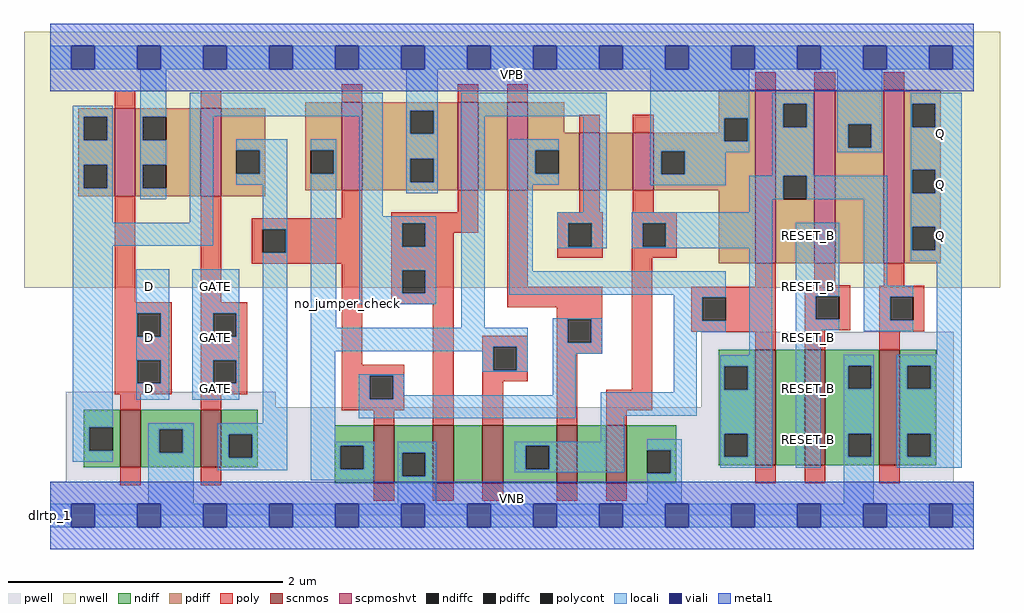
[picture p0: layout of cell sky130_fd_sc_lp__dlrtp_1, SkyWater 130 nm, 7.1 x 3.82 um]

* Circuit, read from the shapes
.subckt sky130_fd_sc_lp__dlrtp_1 D GATE RESET_B VGND VNB VPB VPWR Q
XM1 VGND D n1 VNB sky130_fd_pr__nfet_01v8 w=0.42 l=0.15
XM2 n2 GATE VGND VNB sky130_fd_pr__nfet_01v8 w=0.42 l=0.15
XM3 VGND n2 n3 VNB sky130_fd_pr__nfet_01v8 w=0.42 l=0.15
XM4 n4 n1 VGND VNB sky130_fd_pr__nfet_01v8 w=0.42 l=0.15
XM5 n5 n3 n4 VNB sky130_fd_pr__nfet_01v8 w=0.42 l=0.15
XM6 n6 n2 n5 VNB sky130_fd_pr__nfet_01v8 w=0.42 l=0.15
XM7 VGND n7 n6 VNB sky130_fd_pr__nfet_01v8 w=0.42 l=0.15
XM8 n8 n5 n7 VNB sky130_fd_pr__nfet_01v8 w=0.84 l=0.15
XM9 VGND RESET_B n8 VNB sky130_fd_pr__nfet_01v8 w=0.84 l=0.15
XM10 Q n7 VGND VNB sky130_fd_pr__nfet_01v8 w=0.84 l=0.15
XM11 VPWR D n1 VPB sky130_fd_pr__pfet_01v8_hvt w=0.64 l=0.15
XM12 n2 GATE VPWR VPB sky130_fd_pr__pfet_01v8_hvt w=0.64 l=0.15
XM13 VPWR n2 n3 VPB sky130_fd_pr__pfet_01v8_hvt w=0.64 l=0.15
XM14 n9 n1 VPWR VPB sky130_fd_pr__pfet_01v8_hvt w=0.64 l=0.15
XM15 n5 n2 n9 VPB sky130_fd_pr__pfet_01v8_hvt w=0.64 l=0.15
XM16 n10 n3 n5 VPB sky130_fd_pr__pfet_01v8_hvt w=0.42 l=0.15
XM17 VPWR n7 n10 VPB sky130_fd_pr__pfet_01v8_hvt w=0.42 l=0.15
XM18 n7 n5 VPWR VPB sky130_fd_pr__pfet_01v8_hvt w=1.26 l=0.15
XM19 VPWR RESET_B n7 VPB sky130_fd_pr__pfet_01v8_hvt w=1.26 l=0.15
XM20 Q n7 VPWR VPB sky130_fd_pr__pfet_01v8_hvt w=1.26 l=0.15
.ends

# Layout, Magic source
magic
tech sky130A
magscale 1 2
<< nwell >>
rect -38 331 1382 704
<< pwell >>
rect 23 157 328 180
rect 947 157 1315 267
rect 23 49 1315 157
rect 0 0 1344 49
<< scnmos >>
rect 102 70 132 154
rect 219 70 249 154
rect 471 47 501 131
rect 557 47 587 131
rect 629 47 659 131
rect 737 47 767 131
rect 809 47 839 131
rect 1026 73 1056 241
rect 1098 73 1128 241
rect 1206 73 1236 241
<< scpmoshvt >>
rect 94 464 124 592
rect 219 464 249 592
rect 424 473 454 601
rect 593 473 623 601
rect 665 473 695 601
rect 770 473 800 557
rect 848 473 878 557
rect 1026 367 1056 619
rect 1112 367 1142 619
rect 1213 367 1243 619
<< ndiff >>
rect 49 128 102 154
rect 49 94 57 128
rect 91 94 102 128
rect 49 70 102 94
rect 132 125 219 154
rect 132 91 159 125
rect 193 91 219 125
rect 132 70 219 91
rect 249 118 302 154
rect 973 217 1026 241
rect 973 183 981 217
rect 1015 183 1026 217
rect 249 84 260 118
rect 294 84 302 118
rect 249 70 302 84
rect 414 101 471 131
rect 414 67 422 101
rect 456 67 471 101
rect 414 47 471 67
rect 501 91 557 131
rect 501 57 512 91
rect 546 57 557 91
rect 501 47 557 57
rect 587 47 629 131
rect 659 101 737 131
rect 659 67 692 101
rect 726 67 737 101
rect 659 47 737 67
rect 767 47 809 131
rect 839 95 911 131
rect 839 61 869 95
rect 903 61 911 95
rect 973 119 1026 183
rect 973 85 981 119
rect 1015 85 1026 119
rect 973 73 1026 85
rect 1056 73 1098 241
rect 1128 218 1206 241
rect 1128 184 1161 218
rect 1195 184 1206 218
rect 1128 119 1206 184
rect 1128 85 1161 119
rect 1195 85 1206 119
rect 1128 73 1206 85
rect 1236 218 1289 241
rect 1236 184 1247 218
rect 1281 184 1289 218
rect 1236 119 1289 184
rect 1236 85 1247 119
rect 1281 85 1289 119
rect 1236 73 1289 85
rect 839 47 911 61
<< pdiff >>
rect 41 580 94 592
rect 41 546 49 580
rect 83 546 94 580
rect 41 510 94 546
rect 41 476 49 510
rect 83 476 94 510
rect 41 464 94 476
rect 124 580 219 592
rect 124 546 135 580
rect 169 546 219 580
rect 124 510 219 546
rect 124 476 135 510
rect 169 476 219 510
rect 124 464 219 476
rect 249 531 313 592
rect 249 497 271 531
rect 305 497 313 531
rect 249 464 313 497
rect 371 531 424 601
rect 371 497 379 531
rect 413 497 424 531
rect 371 473 424 497
rect 454 589 593 601
rect 454 555 524 589
rect 558 555 593 589
rect 454 519 593 555
rect 454 485 524 519
rect 558 485 593 519
rect 454 473 593 485
rect 623 473 665 601
rect 695 557 748 601
rect 973 578 1026 619
rect 973 557 981 578
rect 695 531 770 557
rect 695 497 706 531
rect 740 497 770 531
rect 695 473 770 497
rect 800 473 848 557
rect 878 544 981 557
rect 1015 544 1026 578
rect 878 530 1026 544
rect 878 496 889 530
rect 923 496 1026 530
rect 878 473 1026 496
rect 973 367 1026 473
rect 1056 599 1112 619
rect 1056 565 1067 599
rect 1101 565 1112 599
rect 1056 494 1112 565
rect 1056 460 1067 494
rect 1101 460 1112 494
rect 1056 367 1112 460
rect 1142 569 1213 619
rect 1142 535 1161 569
rect 1195 535 1213 569
rect 1142 367 1213 535
rect 1243 599 1296 619
rect 1243 565 1254 599
rect 1288 565 1296 599
rect 1243 503 1296 565
rect 1243 469 1254 503
rect 1288 469 1296 503
rect 1243 420 1296 469
rect 1243 386 1254 420
rect 1288 386 1296 420
rect 1243 367 1296 386
<< ndiffc >>
rect 57 94 91 128
rect 159 91 193 125
rect 981 183 1015 217
rect 260 84 294 118
rect 422 67 456 101
rect 512 57 546 91
rect 692 67 726 101
rect 869 61 903 95
rect 981 85 1015 119
rect 1161 184 1195 218
rect 1161 85 1195 119
rect 1247 184 1281 218
rect 1247 85 1281 119
<< pdiffc >>
rect 49 546 83 580
rect 49 476 83 510
rect 135 546 169 580
rect 135 476 169 510
rect 271 497 305 531
rect 379 497 413 531
rect 524 555 558 589
rect 524 485 558 519
rect 706 497 740 531
rect 981 544 1015 578
rect 889 496 923 530
rect 1067 565 1101 599
rect 1067 460 1101 494
rect 1161 535 1195 569
rect 1254 565 1288 599
rect 1254 469 1288 503
rect 1254 386 1288 420
<< poly >>
rect 94 592 124 618
rect 219 592 249 618
rect 424 601 454 627
rect 593 601 623 627
rect 665 601 695 627
rect 1026 619 1056 645
rect 1112 619 1142 645
rect 1213 619 1243 645
rect 770 557 800 583
rect 848 557 878 583
rect 94 310 124 464
rect 219 310 249 464
rect 424 432 454 473
rect 593 441 623 473
rect 293 416 454 432
rect 293 382 309 416
rect 343 382 454 416
rect 293 366 454 382
rect 94 294 177 310
rect 94 260 127 294
rect 161 260 177 294
rect 94 226 177 260
rect 94 192 127 226
rect 161 192 177 226
rect 94 176 177 192
rect 219 294 287 310
rect 219 260 237 294
rect 271 260 287 294
rect 219 226 287 260
rect 219 192 237 226
rect 271 192 287 226
rect 219 176 287 192
rect 424 219 454 366
rect 496 425 623 441
rect 496 391 512 425
rect 546 411 623 425
rect 546 391 587 411
rect 496 357 587 391
rect 496 323 512 357
rect 546 323 587 357
rect 496 307 587 323
rect 424 203 515 219
rect 102 154 132 176
rect 219 154 249 176
rect 424 169 465 203
rect 499 169 515 203
rect 424 153 515 169
rect 471 131 501 153
rect 557 131 587 307
rect 665 333 695 473
rect 770 441 800 473
rect 848 441 878 473
rect 738 425 804 441
rect 738 391 754 425
rect 788 391 804 425
rect 738 375 804 391
rect 846 425 912 441
rect 846 391 862 425
rect 896 391 912 425
rect 846 375 912 391
rect 665 303 803 333
rect 737 285 803 303
rect 629 245 695 261
rect 629 211 645 245
rect 679 211 695 245
rect 629 195 695 211
rect 737 251 753 285
rect 787 251 803 285
rect 737 235 803 251
rect 629 131 659 195
rect 737 131 767 235
rect 846 183 876 375
rect 1026 333 1056 367
rect 1112 335 1142 367
rect 933 317 1056 333
rect 933 283 949 317
rect 983 283 1056 317
rect 933 267 1056 283
rect 1026 241 1056 267
rect 1098 319 1164 335
rect 1213 334 1243 367
rect 1098 285 1114 319
rect 1148 285 1164 319
rect 1098 269 1164 285
rect 1206 318 1272 334
rect 1206 284 1222 318
rect 1256 284 1272 318
rect 1098 241 1128 269
rect 1206 268 1272 284
rect 1206 241 1236 268
rect 809 153 876 183
rect 809 131 839 153
rect 102 44 132 70
rect 219 44 249 70
rect 1026 47 1056 73
rect 1098 47 1128 73
rect 1206 47 1236 73
rect 471 21 501 47
rect 557 21 587 47
rect 629 21 659 47
rect 737 21 767 47
rect 809 21 839 47
<< polycont >>
rect 309 382 343 416
rect 127 260 161 294
rect 127 192 161 226
rect 237 260 271 294
rect 237 192 271 226
rect 512 391 546 425
rect 512 323 546 357
rect 465 169 499 203
rect 754 391 788 425
rect 862 391 896 425
rect 645 211 679 245
rect 753 251 787 285
rect 949 283 983 317
rect 1114 285 1148 319
rect 1222 284 1256 318
<< locali >>
rect 0 649 31 683
rect 65 649 127 683
rect 161 649 223 683
rect 257 649 319 683
rect 353 649 415 683
rect 449 649 511 683
rect 545 649 607 683
rect 641 649 703 683
rect 737 649 799 683
rect 833 649 895 683
rect 929 649 991 683
rect 1025 649 1087 683
rect 1121 649 1183 683
rect 1217 649 1279 683
rect 1313 649 1344 683
rect 33 580 91 596
rect 33 546 49 580
rect 83 546 91 580
rect 33 510 91 546
rect 33 476 49 510
rect 83 476 91 510
rect 33 426 91 476
rect 131 580 169 649
rect 131 546 135 580
rect 131 510 169 546
rect 131 476 135 510
rect 131 460 169 476
rect 203 581 484 615
rect 203 426 237 581
rect 271 531 345 547
rect 305 497 345 531
rect 271 481 345 497
rect 33 392 237 426
rect 309 416 345 481
rect 33 128 91 392
rect 343 382 345 416
rect 125 294 173 358
rect 125 260 127 294
rect 161 260 173 294
rect 125 226 173 260
rect 125 192 127 226
rect 161 192 173 226
rect 125 168 173 192
rect 207 294 275 358
rect 207 260 237 294
rect 271 260 275 294
rect 207 226 275 260
rect 207 192 237 226
rect 271 192 275 226
rect 207 168 275 192
rect 309 134 345 382
rect 33 94 57 128
rect 33 78 91 94
rect 143 125 209 134
rect 143 91 159 125
rect 193 91 209 125
rect 143 17 209 91
rect 244 118 345 134
rect 244 84 260 118
rect 294 84 345 118
rect 244 66 345 84
rect 379 531 416 547
rect 413 497 416 531
rect 379 273 416 497
rect 450 435 484 581
rect 518 589 564 649
rect 518 555 524 589
rect 558 555 564 589
rect 518 519 564 555
rect 518 485 524 519
rect 558 485 564 519
rect 518 469 564 485
rect 598 581 810 615
rect 450 425 562 435
rect 450 391 512 425
rect 546 391 562 425
rect 450 357 562 391
rect 450 323 512 357
rect 546 323 562 357
rect 450 307 562 323
rect 598 273 632 581
rect 668 531 740 547
rect 668 497 706 531
rect 668 481 740 497
rect 668 355 702 481
rect 776 441 810 581
rect 873 578 1017 649
rect 873 544 981 578
rect 1015 544 1017 578
rect 873 530 1017 544
rect 873 496 889 530
rect 923 528 1017 530
rect 1051 599 1111 615
rect 1051 565 1067 599
rect 1101 565 1111 599
rect 923 496 983 528
rect 873 480 983 496
rect 1051 494 1111 565
rect 1145 569 1211 649
rect 1145 535 1161 569
rect 1195 535 1211 569
rect 1145 528 1211 535
rect 1252 599 1326 615
rect 1252 565 1254 599
rect 1288 565 1326 599
rect 1252 503 1326 565
rect 1017 460 1067 494
rect 1101 460 1218 494
rect 1017 441 1051 460
rect 738 425 810 441
rect 738 391 754 425
rect 788 391 810 425
rect 738 389 810 391
rect 846 425 1051 441
rect 846 391 862 425
rect 896 391 1051 425
rect 846 389 1051 391
rect 668 321 983 355
rect 907 317 983 321
rect 731 285 803 287
rect 379 245 695 273
rect 379 239 645 245
rect 379 107 415 239
rect 629 211 645 239
rect 679 211 695 245
rect 629 209 695 211
rect 731 251 753 285
rect 787 251 803 285
rect 731 235 803 251
rect 907 283 949 317
rect 907 267 983 283
rect 449 203 515 205
rect 449 169 465 203
rect 499 175 515 203
rect 731 175 765 235
rect 907 179 941 267
rect 1017 233 1051 389
rect 499 169 765 175
rect 449 141 765 169
rect 801 145 941 179
rect 975 217 1051 233
rect 975 183 981 217
rect 1015 183 1051 217
rect 801 107 835 145
rect 975 119 1051 183
rect 379 101 472 107
rect 379 67 422 101
rect 456 67 472 101
rect 379 51 472 67
rect 506 91 562 107
rect 506 57 512 91
rect 546 57 562 91
rect 676 101 835 107
rect 676 67 692 101
rect 726 67 835 101
rect 676 63 835 67
rect 869 95 919 111
rect 506 17 562 57
rect 903 61 919 95
rect 975 85 981 119
rect 1015 85 1051 119
rect 975 69 1051 85
rect 1085 319 1148 426
rect 1085 285 1114 319
rect 1085 269 1148 285
rect 1184 334 1218 460
rect 1252 469 1254 503
rect 1288 469 1326 503
rect 1252 420 1326 469
rect 1252 386 1254 420
rect 1288 386 1326 420
rect 1252 370 1326 386
rect 1184 318 1256 334
rect 1184 284 1222 318
rect 1085 69 1121 269
rect 1184 268 1256 284
rect 1290 234 1326 370
rect 1155 218 1198 234
rect 1155 184 1161 218
rect 1195 184 1198 218
rect 1155 119 1198 184
rect 1155 85 1161 119
rect 1195 85 1198 119
rect 869 17 919 61
rect 1155 17 1198 85
rect 1232 218 1326 234
rect 1232 184 1247 218
rect 1281 184 1326 218
rect 1232 119 1326 184
rect 1232 85 1247 119
rect 1281 85 1326 119
rect 1232 69 1326 85
rect 0 -17 31 17
rect 65 -17 127 17
rect 161 -17 223 17
rect 257 -17 319 17
rect 353 -17 415 17
rect 449 -17 511 17
rect 545 -17 607 17
rect 641 -17 703 17
rect 737 -17 799 17
rect 833 -17 895 17
rect 929 -17 991 17
rect 1025 -17 1087 17
rect 1121 -17 1183 17
rect 1217 -17 1279 17
rect 1313 -17 1344 17
<< viali >>
rect 31 649 65 683
rect 127 649 161 683
rect 223 649 257 683
rect 319 649 353 683
rect 415 649 449 683
rect 511 649 545 683
rect 607 649 641 683
rect 703 649 737 683
rect 799 649 833 683
rect 895 649 929 683
rect 991 649 1025 683
rect 1087 649 1121 683
rect 1183 649 1217 683
rect 1279 649 1313 683
rect 31 -17 65 17
rect 127 -17 161 17
rect 223 -17 257 17
rect 319 -17 353 17
rect 415 -17 449 17
rect 511 -17 545 17
rect 607 -17 641 17
rect 703 -17 737 17
rect 799 -17 833 17
rect 895 -17 929 17
rect 991 -17 1025 17
rect 1087 -17 1121 17
rect 1183 -17 1217 17
rect 1279 -17 1313 17
<< metal1 >>
rect 0 683 1344 715
rect 0 649 31 683
rect 65 649 127 683
rect 161 649 223 683
rect 257 649 319 683
rect 353 649 415 683
rect 449 649 511 683
rect 545 649 607 683
rect 641 649 703 683
rect 737 649 799 683
rect 833 649 895 683
rect 929 649 991 683
rect 1025 649 1087 683
rect 1121 649 1183 683
rect 1217 649 1279 683
rect 1313 649 1344 683
rect 0 617 1344 649
rect 0 17 1344 49
rect 0 -17 31 17
rect 65 -17 127 17
rect 161 -17 223 17
rect 257 -17 319 17
rect 353 -17 415 17
rect 449 -17 511 17
rect 545 -17 607 17
rect 641 -17 703 17
rect 737 -17 799 17
rect 833 -17 895 17
rect 929 -17 991 17
rect 1025 -17 1087 17
rect 1121 -17 1183 17
rect 1217 -17 1279 17
rect 1313 -17 1344 17
rect 0 -49 1344 -17
<< labels >>
flabel pwell s 0 0 1344 49 0 FreeSans 200 0 0 0 VNB
port 5 nsew ground bidirectional
flabel nwell s 0 617 1344 666 0 FreeSans 200 0 0 0 VPB
port 6 nsew power bidirectional
rlabel comment s 0 0 0 0 4 dlrtp_1
flabel comment s 432 308 432 308 0 FreeSans 200 90 0 0 no_jumper_check
flabel metal1 s 0 617 1344 666 0 FreeSans 340 0 0 0 VPWR
port 7 nsew power bidirectional
flabel metal1 s 0 0 1344 49 0 FreeSans 340 0 0 0 VGND
port 4 nsew ground bidirectional
flabel locali s 127 168 161 202 0 FreeSans 340 0 0 0 D
port 1 nsew signal input
flabel locali s 127 242 161 276 0 FreeSans 340 0 0 0 D
port 1 nsew signal input
flabel locali s 127 316 161 350 0 FreeSans 340 0 0 0 D
port 1 nsew signal input
flabel locali s 1087 94 1121 128 0 FreeSans 340 0 0 0 RESET_B
port 3 nsew signal input
flabel locali s 1087 168 1121 202 0 FreeSans 340 0 0 0 RESET_B
port 3 nsew signal input
flabel locali s 1087 242 1121 276 0 FreeSans 340 0 0 0 RESET_B
port 3 nsew signal input
flabel locali s 1087 316 1121 350 0 FreeSans 340 0 0 0 RESET_B
port 3 nsew signal input
flabel locali s 1087 390 1121 424 0 FreeSans 340 0 0 0 RESET_B
port 3 nsew signal input
flabel locali s 223 168 257 202 0 FreeSans 340 0 0 0 GATE
port 2 nsew clock input
flabel locali s 223 242 257 276 0 FreeSans 340 0 0 0 GATE
port 2 nsew clock input
flabel locali s 223 316 257 350 0 FreeSans 340 0 0 0 GATE
port 2 nsew clock input
flabel locali s 1279 390 1313 424 0 FreeSans 340 0 0 0 Q
port 8 nsew signal output
flabel locali s 1279 464 1313 498 0 FreeSans 340 0 0 0 Q
port 8 nsew signal output
flabel locali s 1279 538 1313 572 0 FreeSans 340 0 0 0 Q
port 8 nsew signal output
<< properties >>
string LEFsite unit
string LEFclass CORE
string FIXED_BBOX 0 0 1344 666
string GDS_FILE $PDKPATH/libs.ref/sky130_fd_sc_lp/gds/sky130_fd_sc_lp.gds
string LEFsymmetry X Y R90
string GDS_END 1909354
string GDS_START 1897964
<< end >>
